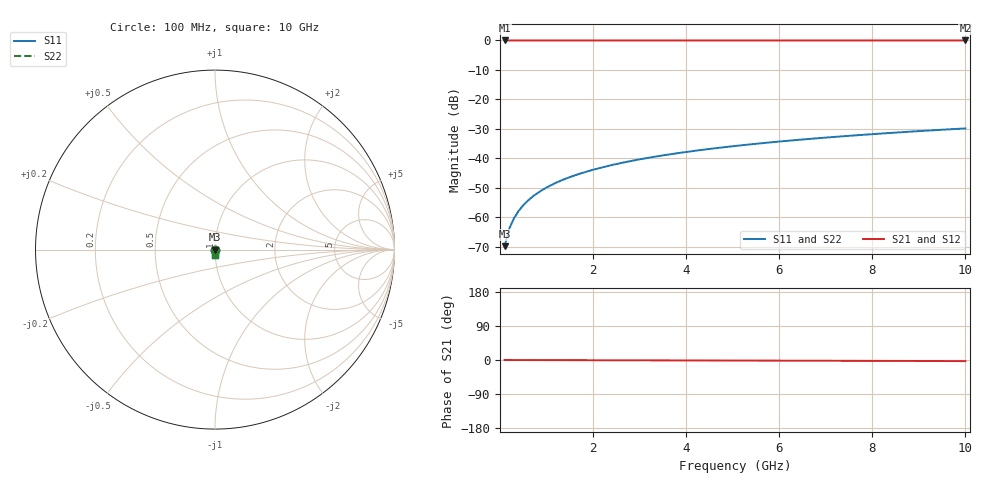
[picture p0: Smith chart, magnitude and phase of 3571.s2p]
# Hz S RI R 50.00
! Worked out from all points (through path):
!   100 points, 100 MHz to 10 GHz, reference 50 ohm
!   highest |S21| = 0.00 dB at 100 MHz (marker M1); lowest = 0.0 dB at 10 GHz (marker M2)
!   lowest |S11| = -69.7 dB at 100 MHz (marker M3), VSWR 1.00, Z = 50 - j0.0321 ohm
!   |S11| at or under -10 dB: start of sweep to end of sweep
!   |S22| runs from -69.7 to -29.8 dB; largest |S21 - S12| = 0
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1e8  5.56e-05 -0.000321  0.9999 -0.000502  0.9999 -0.000502  5.56e-05 -0.000321
2e8  5.51e-05 -0.000642  0.9999 -0.001  0.9999 -0.001  5.51e-05 -0.000642
3e8  5.42e-05 -0.000963  0.9999 -0.0015  0.9999 -0.0015  5.42e-05 -0.000963
4e8  5.29e-05 -0.00128  0.9999 -0.00201  0.9999 -0.00201  5.29e-05 -0.00128
5e8  5.13e-05 -0.00161  0.9999 -0.00251  0.9999 -0.00251  5.13e-05 -0.00161
6e8  4.93e-05 -0.00193  0.9999 -0.00301  0.9999 -0.00301  4.93e-05 -0.00193
7e8  4.7e-05 -0.00225  0.9999 -0.00351  0.9999 -0.00351  4.7e-05 -0.00225
8e8  4.43e-05 -0.00257  0.9999 -0.00401  0.9999 -0.00401  4.43e-05 -0.00257
9e8  4.13e-05 -0.00289  0.9999 -0.00452  0.9999 -0.00452  4.13e-05 -0.00289
1.1e9  3.43e-05 -0.00353  0.9999 -0.00552  0.9999 -0.00552  3.43e-05 -0.00353
1.4e9  2.14e-05 -0.0045  0.9999 -0.00702  0.9999 -0.00702  2.14e-05 -0.0045
1.8e9  -4.21e-07 -0.00578  0.9999 -0.00903  0.9999 -0.00903  -4.21e-07 -0.00578
2.1e9  -2.02e-05 -0.00675  0.9999 -0.0105  0.9999 -0.0105  -2.02e-05 -0.00675
2.5e9  -5.11e-05 -0.00804  0.9998 -0.0125  0.9998 -0.0125  -5.11e-05 -0.00804
2.9e9  -8.73e-05 -0.00932  0.9998 -0.0146  0.9998 -0.0146  -8.73e-05 -0.00932
3.4e9  -0.00014 -0.0109  0.9997 -0.0171  0.9997 -0.0171  -0.00014 -0.0109
4.2e9  -0.000241 -0.0135  0.9996 -0.0211  0.9996 -0.0211  -0.000241 -0.0135
5.1e9  -0.000379 -0.0164  0.9995 -0.0256  0.9995 -0.0256  -0.000379 -0.0164
5.9e9  -0.000525 -0.019  0.9993 -0.0297  0.9993 -0.0297  -0.000525 -0.019
6.7e9  -0.000692 -0.0216  0.9991 -0.0337  0.9991 -0.0337  -0.000692 -0.0216
8.4e9  -0.00112 -0.0271  0.9986 -0.0423  0.9986 -0.0423  -0.00112 -0.0271
1e10  -0.0016 -0.0323  0.9981 -0.0504  0.9981 -0.0504  -0.0016 -0.0323
